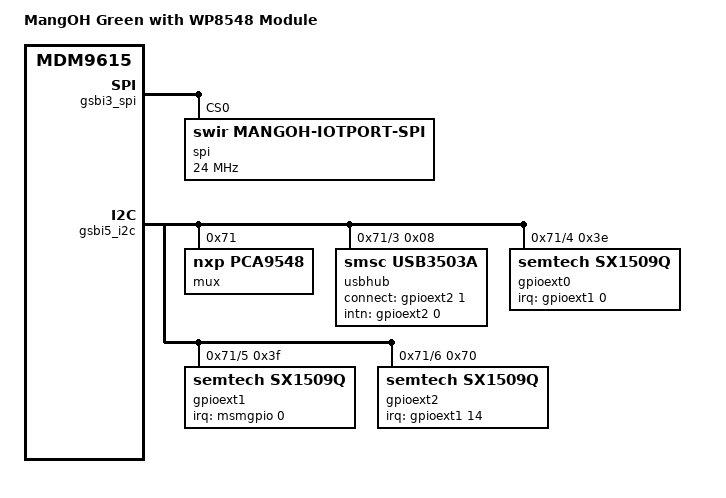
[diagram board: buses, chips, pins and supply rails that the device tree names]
/*
 * Device Tree Source for mangOH Green Board with WP8548 Module
 *
 * Copyright (C) 2016 BayLibre, SAS.
 * Author : Neil Armstrong <narmstrong@baylibre.com>
 *
 * This file is dual-licensed: you can use it either under the terms
 * of the GPL or the X11 license, at your option. Note that this dual
 * licensing only applies to this file, and not this project as a
 * whole.
 *
 *  a) This file is free software; you can redistribute it and/or
 *     modify it under the terms of the GNU General Public License as
 *     published by the Free Software Foundation; either version 2 of the
 *     License, or (at your option) any later version.
 *
 *     This file is distributed in the hope that it will be useful,
 *     but WITHOUT ANY WARRANTY; without even the implied warranty of
 *     MERCHANTABILITY or FITNESS FOR A PARTICULAR PURPOSE.  See the
 *     GNU General Public License for more details.
 *
 * Or, alternatively,
 *
 *  b) Permission is hereby granted, free of charge, to any person
 *     obtaining a copy of this software and associated documentation
 *     files (the "Software"), to deal in the Software without
 *     restriction, including without limitation the rights to use,
 *     copy, modify, merge, publish, distribute, sublicense, and/or
 *     sell copies of the Software, and to permit persons to whom the
 *     Software is furnished to do so, subject to the following
 *     conditions:
 *
 *     The above copyright notice and this permission notice shall be
 *     included in all copies or substantial portions of the Software.
 *
 *     THE SOFTWARE IS PROVIDED "AS IS", WITHOUT WARRANTY OF ANY KIND,
 *     EXPRESS OR IMPLIED, INCLUDING BUT NOT LIMITED TO THE WARRANTIES
 *     OF MERCHANTABILITY, FITNESS FOR A PARTICULAR PURPOSE AND
 *     NONINFRINGEMENT. IN NO EVENT SHALL THE AUTHORS OR COPYRIGHT
 *     HOLDERS BE LIABLE FOR ANY CLAIM, DAMAGES OR OTHER LIABILITY,
 *     WHETHER IN AN ACTION OF CONTRACT, TORT OR OTHERWISE, ARISING
 *     FROM, OUT OF OR IN CONNECTION WITH THE SOFTWARE OR THE USE OR
 *     OTHER DEALINGS IN THE SOFTWARE.
 */

#include <dt-bindings/input/input.h>

#include "qcom-mdm9615-wp8548.dtsi"
#include <dt-bindings/interrupt-controller/irq.h>
#include <dt-bindings/gpio/gpio.h>

/ {
	model = "MangOH Green with WP8548 Module";
	compatible = "swir,mangoh-green-wp8548", "swir,wp8548", "qcom,mdm9615";

	aliases {
		spi0 = &gsbi3_spi;
		serial0 = &gsbi4_serial;
		serial1 = &gsbi5_serial;
		i2c0 = &gsbi5_i2c;
		mmc0 = &sdcc1;
	};

	chosen {
		stdout-path = "serial1:115200n8";
	};
};

&msmgpio {
	/* MangOH GPIO Mapping :
	 * - 2 : GPIOEXP_INT2
	 * - 7 : IOT1_GPIO2
	 * - 8 : IOT0_GPIO4
	 * - 13: IOT0_GPIO3
	 * - 21: IOT1_GPIO4
	 * - 22: IOT2_GPIO1
	 * - 23: IOT2_GPIO2
	 * - 24: IOT2_GPIO3
	 * - 25: IOT1_GPIO1
	 * - 32: IOT1_GPIO3
	 * - 33: IOT0_GPIO2
	 * - 42: IOT0_GPIO1 and SD Card Detect
	 */

	gpioext1_pins: gpioext1_pins {
		pins {
			pins = "gpio2";
			function = "gpio";
			input-enable;
			bias-disable;
		};
	};

	sdc_cd_pins: sdc_cd_pins {
		pins {
			pins = "gpio42";
			function = "gpio";
			drive-strength = <2>;
			bias-pull-up;
		};
	};
};

&gsbi3_spi {
	spi@0 {
		compatible = "swir,mangoh-iotport-spi";
		spi-max-frequency = <24000000>;
		reg = <0>;
	};
};

&gsbi5_i2c {
	mux@71 {
		compatible = "nxp,pca9548";
		#address-cells = <1>;
		#size-cells = <0>;
		reg = <0x71>;

		i2c_iot0: i2c@0 {
			#address-cells = <1>;
			#size-cells = <0>;
			reg = <0>;
		};

		i2c_iot1: i2c@1 {
			#address-cells = <1>;
			#size-cells = <0>;
			reg = <1>;
		};

		i2c_iot2: i2c@2 {
			#address-cells = <1>;
			#size-cells = <0>;
			reg = <2>;
		};

		i2c@3 {
			#address-cells = <1>;
			#size-cells = <0>;
			reg = <3>;

			usbhub: hub@8 {
				compatible = "smsc,usb3503a";
				reg = <0x8>;
				connect-gpios = <&gpioext2 1 GPIO_ACTIVE_HIGH>;
				intn-gpios = <&gpioext2 0 GPIO_ACTIVE_HIGH>;
				initial-mode = <1>;
			};
		};

		i2c@4 {
			#address-cells = <1>;
			#size-cells = <0>;
			reg = <4>;

			gpioext0: gpio@3e {
				/* GPIO Expander 0 Mapping :
				 * - 0: ARDUINO_RESET_Level shift
				 * - 1: BattChrgr_PG_N
				 * - 2: BattGauge_GPIO
				 * - 3: LED_ON (out active high)
				 * - 4: ATmega_reset_GPIO
				 * - 5: X
				 * - 6: PCM_ANALOG_SELECT (out active high)
				 * - 7: X
				 * - 8: Board_rev_res1 (in)
				 * - 9: Board_rev_res2 (in)
				 * - 10: UART_EXP1_ENn (out active low / pull-down)
				 * - 11: UART_EXP1_IN (out pull-down)
				 * - 12: UART_EXP2_IN (out pull-down)
				 * - 13: SDIO_SEL (out pull-down)
				 * - 14: SPI_EXP1_ENn (out active low / pull-down)
				 * - 15: SPI_EXP1_IN (out pull-down)
				 */
				#gpio-cells = <2>;
				#interrupt-cells = <2>;
				compatible = "semtech,sx1509q";
				reg = <0x3e>;
				interrupt-parent = <&gpioext1>;
				interrupts = <0 IRQ_TYPE_EDGE_FALLING>;

				probe-reset;

				gpio-controller;
				interrupt-controller;
			};
		};

		i2c@5 {
			#address-cells = <1>;
			#size-cells = <0>;
			reg = <5>;

			gpioext1: gpio@3f {
				/* GPIO Expander 1 Mapping :
				 * - 0: GPIOEXP_INT1
				 * - 1: Battery detect
				 * - 2: GPIO_SCF3_RESET
				 * - 3: LED_CARD_DETECT_IOT0 (in)
				 * - 4: LED_CARD_DETECT_IOT1 (in)
				 * - 5: LED_CARD_DETECT_IOT2 (in)
				 * - 6: UIM2_PWM_SELECT
				 * - 7: UIM2_M2_S_SELECT
				 * - 8: TP900
				 * - 9: SENSOR_INT1 (in)
				 * - 10: SENSOR_INT2 (in)
				 * - 11: CARD_DETECT_IOT0 (in pull-up)
				 * - 12: CARD_DETECT_IOT2 (in pull-up)
				 * - 13: CARD_DETECT_IOT1 (in pull-up)
				 * - 14: GPIOEXP_INT3 (in active low / pull-up)
				 * - 15: BattChrgr_INT_N
				 */
				pinctrl-0 = <&gpioext1_pins>;
				pinctrl-names = "default";

				#gpio-cells = <2>;
				#interrupt-cells = <2>;
				compatible = "semtech,sx1509q";
				reg = <0x3f>;
				interrupt-parent = <&msmgpio>;
				interrupts = <0 IRQ_TYPE_EDGE_FALLING>;

				probe-reset;

				gpio-controller;
				interrupt-controller;
			};
		};

		i2c@6 {
			#address-cells = <1>;
			#size-cells = <0>;
			reg = <6>;

			gpioext2: gpio@70 {
				/* GPIO Expander 2 Mapping :
				 * - 0: USB_HUB_INTn
				 * - 1: HUB_CONNECT
				 * - 2: GPIO_IOT2_RESET (out active low / pull-up)
				 * - 3: GPIO_IOT1_RESET (out active low / pull-up)
				 * - 4: GPIO_IOT0_RESET (out active low / pull-up)
				 * - 5: TP901
				 * - 6: TP902
				 * - 7: TP903
				 * - 8: UART_EXP2_ENn (out active low / pull-down)
				 * - 9: PCM_EXP1_ENn (out active low)
				 * - 10: PCM_EXP1_SEL (out)
				 * - 11: ARD_FTDI
				 * - 12: TP904
				 * - 13: TP905
				 * - 14: TP906
				 * - 15: RS232_Enable (out active high / pull-up)
				 */
				#gpio-cells = <2>;
				#interrupt-cells = <2>;
				compatible = "semtech,sx1509q";
				reg = <0x70>;
				interrupt-parent = <&gpioext1>;
				interrupts = <14 IRQ_TYPE_EDGE_FALLING>;

				probe-reset;

				gpio-controller;
				interrupt-controller;
			};
		};

		i2c@7 {
			#address-cells = <1>;
			#size-cells = <0>;
			reg = <7>;
		};
	};
};

&sdcc1 {
	pinctrl-0 = <&sdc_cd_pins>;
	pinctrl-names = "default";
	disable-wp;
	cd-gpios = <&msmgpio 42 GPIO_ACTIVE_LOW>; /* Active low CD */
};
